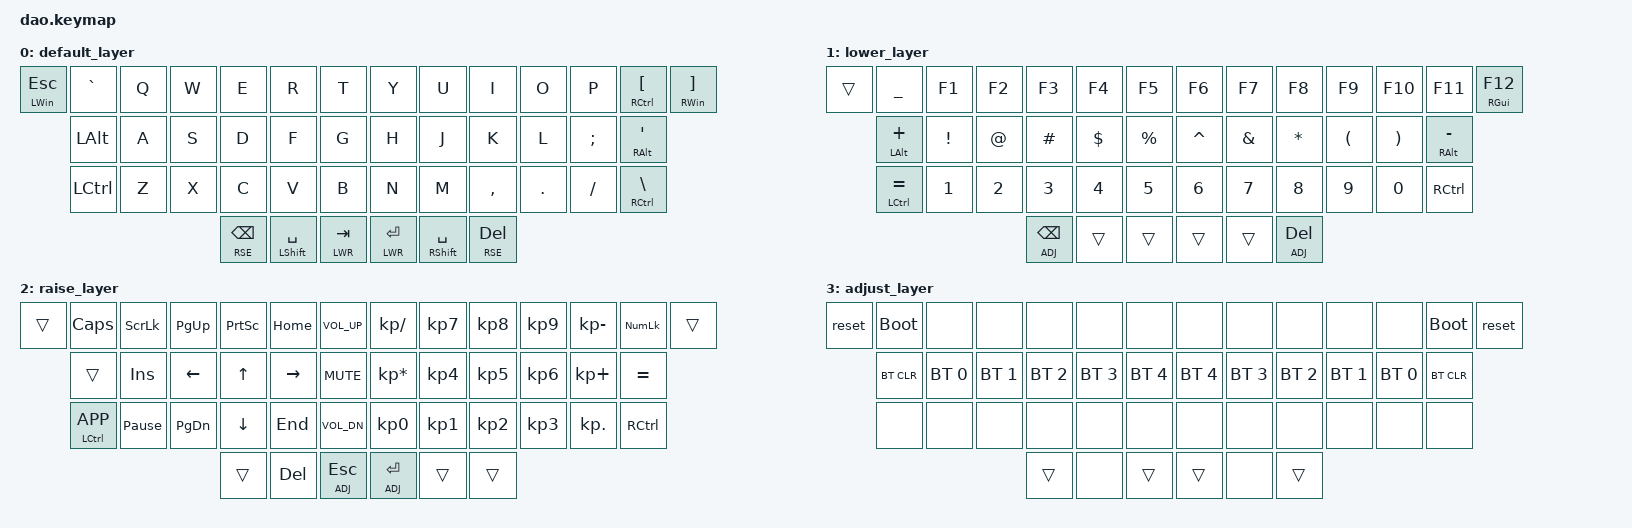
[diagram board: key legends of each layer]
/*
 * Copyright (c) 2021 Rafael Yumagulov
 *
 * SPDX-License-Identifier: MIT
 */

#include <behaviors.dtsi>
#include <dt-bindings/zmk/keys.h>
#include <dt-bindings/zmk/bt.h>

#define DEF 0
#define LWR 1
#define RSE 2
#define ADJ 3

&lt { quick_tap_ms = <200>; };
&mt { quick_tap_ms = <200>; };

/ {
        keymap {
                compatible = "zmk,keymap";

                default_layer {
// -----------------------------------------------------------------------------------------
// |  GUI |   ~   |  Q  |  W  |  E  |  R  |  T  |   |  Y  |  U   |  I  |  O  |  P  |  [   | GUI/] |
//        |  LALT |  A  |  S  |  D  |  F  |  G  |   |  H  |  J   |  K  |  L  |  ;  |RALT/'|
//        |  CTRL |  Z  |  X  |  C  |  V  |  B  |   |  N  |  M   |  ,  |  .  |  /  | CTRL |
//                           | RSE | SPC | LWR |   | LWR | SPC | RSE |
                        bindings = <
   &mt LWIN ESC &kp GRAVE &kp Q &kp W &kp E &kp R &kp T &kp Y         &kp U  &kp I     &kp O   &kp P    &mt RCTRL LBKT &mt RWIN RBKT
        &kp LALT &kp A &kp S &kp D &kp F &kp G &kp H         &kp J  &kp K     &kp L   &kp SEMI &mt RALT SQT
            &kp LCTRL  &kp Z &kp X &kp C &kp V &kp B &kp N         &kp M  &kp COMMA &kp DOT &kp FSLH &mt RCTRL BSLH
                     &lt RSE BSPC &mt LSHFT SPACE &lt LWR TAB   &lt LWR RET &mt RSHFT SPACE &lt RSE DEL
                        >;
                };
                lower_layer {
// -----------------------------------------------------------------------------------------
// |     |  _  |  F1 |  F2 |  F3 |  F4 |  F5 |   |  F6 |  F7 |  F8 |  F9 | F10 | F11 | F12 |
//       |  +  |  !  |  @  |  #  |  $  |  %  |   |  ^  |  &  |  *  |  (  |  )  |  -  |
//       |  =  |  1  |  2  |  3  |  4  |  5  |   |  6  |  7  |  8  |  9  |  0  | CTRL|
//                   | GUI |     | SPC |   | ENT |     | ALT |
                        bindings = <
   &trans &kp UNDER      	&kp F1   &kp F2 &kp F3   &kp F4   &kp F5           &kp F6    &kp F7   &kp F8   &kp F9   &kp F10  &kp F11 &mt RGUI F12
          &mt LALT  PLUS 	&kp EXCL &kp AT &kp HASH &kp DLLR &kp PRCNT        &kp CARET &kp AMPS &kp STAR &kp LPAR &kp RPAR &mt RALT MINUS
          &mt LCTRL EQUAL 	&kp N1   &kp N2 &kp N3   &kp N4   &kp N5           &kp N6    &kp N7   &kp N8   &kp N9   &kp N0  &kp RCTRL
                                           &lt ADJ BSPC &trans &trans          &trans &trans &lt ADJ DEL
                        >;
                };

                raise_layer {
// -----------------------------------------------------------------------------------------
// |     | CLCK| SCLK| PGUP| PRSC| HOME| VOLU|   |  /  |  7  |  8  |  9  |  -  | NMLK|     |
//       |     | INS | LEFT|  UP | RGHT| MUT |   |  *  |  4  |  5  |  6  |  +  |  =  |
//       | APP | PAUS| PGDN| DOWN| END | VOLD|   |  0  |  1  |  2  |  3  |  .  | CTRL|
//                          |     |     | ADJ |   | ADJ |     |     |
                        bindings = <
   &trans 	&kp CAPS  		&kp SLCK   		&kp PG_UP 	&kp PSCRN 	&kp HOME 	&kp C_VOL_UP        &kp KP_SLASH 		&kp KP_N7 	&kp KP_N8 	&kp KP_N9 &kp KP_MINUS &kp KP_NUM 		&trans
			&trans  		&kp INS 		&kp LEFT    &kp UP 		&kp RIGHT 	&kp C_MUTE          &kp KP_MULTIPLY   	&kp KP_N4 	&kp KP_N5   &kp KP_N6 &kp KP_PLUS  &kp EQUAL
            &mt LCTRL K_APP	&kp PAUSE_BREAK &kp PG_DN 	&kp DOWN 	&kp END 	&kp C_VOL_DN        &kp KP_N0 			&kp KP_N1  	&kp KP_N2  	&kp KP_N3 &kp KP_DOT   &kp RCTRL
																   &trans &kp DEL &lt ADJ ESC     &lt ADJ RET &trans &trans
                        >;
                };
                adjust_layer {
// -----------------------------------------------------------------------------------------
// | RST | BLDR |     |     |     |     |     |   |     |     |     |     |     | BLDR | RST |
//       | BTCLR| BT0 | BT1 | BT2 | BT3 | BT4 |   | BT4 | BT3 | BT2 | BT1 | BT0 | BTCLR|
//       |      |     |     |     |     |     |   |     |     |     |     |     |      |
//                          |     |     |     |   |     |     |     |
                        bindings = <
   &reset &bootloader  &none        &none        &none        &none        &none              &none        &none        &none        &none        &none         &bootloader &reset
          &bt BT_CLR   &bt BT_SEL 0 &bt BT_SEL 1 &bt BT_SEL 2 &bt BT_SEL 3 &bt BT_SEL 4       &bt BT_SEL 4 &bt BT_SEL 3 &bt BT_SEL 2 &bt BT_SEL 1 &bt BT_SEL 0  &bt BT_CLR
          &none        &none        &none        &none        &none        &none              &none        &none        &none        &none        &none         &none
                                                                    &trans &none &trans   &trans &none &trans
                        >;
                };
        };
};
